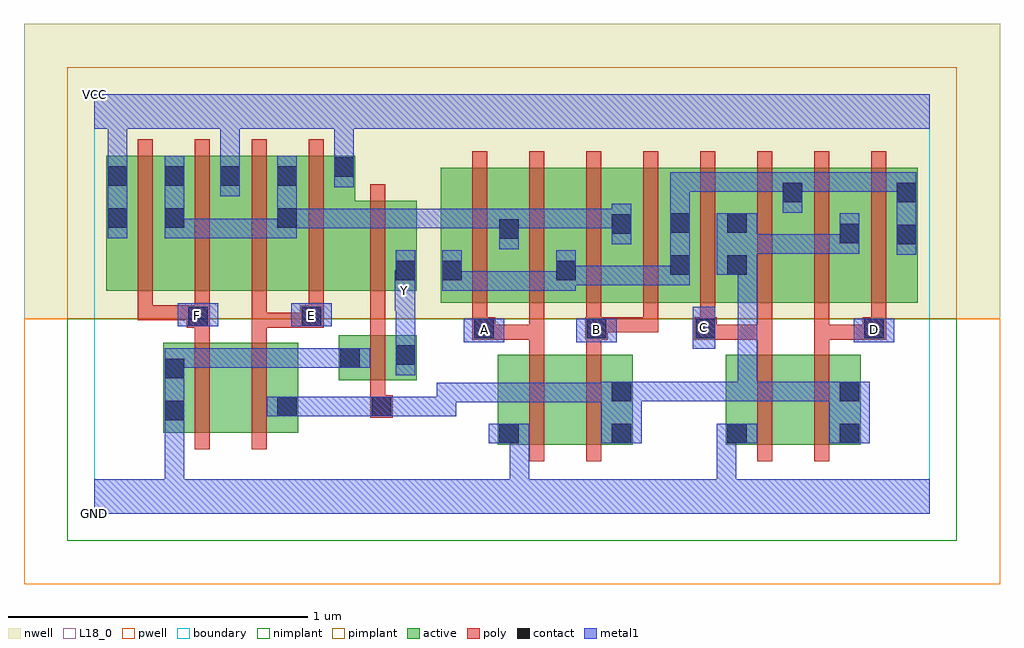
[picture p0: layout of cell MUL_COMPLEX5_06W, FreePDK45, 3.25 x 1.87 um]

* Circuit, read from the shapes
.subckt MUL_COMPLEX5_06W A B C D E F GND VCC Y
M1 n1 F GND VSUBS nfet w=0.3u l=0.05u
M2 n2 E n1 VSUBS nfet w=0.3u l=0.05u
M3 Y n2 GND VSUBS nfet w=0.15u l=0.05u
M4 n3 A GND VSUBS nfet w=0.3u l=0.05u
M5 n2 B n3 VSUBS nfet w=0.3u l=0.05u
M6 n4 C GND VSUBS nfet w=0.3u l=0.05u
M7 n2 D n4 VSUBS nfet w=0.3u l=0.05u
M8 n5 F VCC n6 pfet w=0.45u l=0.05u m=2
M9 n5 E VCC n6 pfet w=0.45u l=0.05u m=2
M10 Y n2 VCC n6 pfet w=0.3u l=0.05u
M11 n5 A n7 n6 pfet w=0.45u l=0.05u m=2
M12 n5 B n7 n6 pfet w=0.45u l=0.05u m=2
M13 n2 C n7 n6 pfet w=0.45u l=0.05u m=2
M14 n2 D n7 n6 pfet w=0.45u l=0.05u m=2
.ends

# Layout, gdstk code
import gdstk
lib = gdstk.Library(unit=1e-6, precision=1e-09)
def R(c, l, rs):  # rectangles x0, y0, x1, y1
    for r in rs: c.add(gdstk.rectangle(r[:2], r[2:], *l))
def A(c, l, x, y, w, h, nx, ny, dx, dy):  # array of equal rectangles
    R(c, l, [(x+i*dx, y+j*dy, x+i*dx+w, y+j*dy+h) for i in range(nx) for j in range(ny)])
active = (1, 0)
pwell = (2, 0)
nwell = (3, 0)
nimplant = (4, 0)
pimplant = (5, 0)
poly = (9, 0)
contact = (10, 0)
metal1 = (11, 0)
L18_0 = (18, 0)
boundary = (235, 0)

mul_complex5_06w = lib.new_cell('MUL_COMPLEX5_06W')
R(mul_complex5_06w, active, [(1.345,0.23,1.42,0.53), (1.345,0.23,1.57,0.53), (1.57,0.23,1.795,0.53), (1.72,0.23,1.795,0.53), (2.105,0.23,2.18,0.53), (2.105,0.23,2.33,0.53), (2.33,0.23,2.555,0.53), (2.48,0.23,2.555,0.53), (0.23,0.27,0.305,0.57), (0.23,0.27,0.455,0.57), (0.455,0.27,0.68,0.57), (0.605,0.295,0.68,0.57), (0.815,0.445,0.89,0.595), (0.815,0.445,1.075,0.595), (1,0.445,1.075,0.595), (1.155,0.705,1.42,1.155), (1.155,0.705,1.23,1.07), (1.345,0.705,1.61,1.155), (1.535,0.705,1.61,1.07), (1.535,0.705,1.795,1.155), (1.72,0.705,1.99,1.155), (1.915,0.705,1.99,1.155), (1.915,0.705,2.18,1.155), (2.105,0.705,2.18,1.07), (2.105,0.705,2.365,1.155), (2.29,0.705,2.365,1.155), (2.29,0.705,2.555,1.155), (2.48,0.705,2.745,1.155), (2.48,0.705,2.555,1.07), (2.67,0.705,2.745,1.155), (0.04,0.745,0.115,1.195), (0.04,0.745,0.305,1.195), (0.23,0.745,0.49,1.195), (0.415,0.745,0.68,1.195), (0.605,0.745,0.87,1.195), (0.795,0.745,1.075,1.045), (1,0.775,1.075,1.005), (0.23,0.857,0.305,1.195), (0.415,0.857,0.49,1.165), (0.605,0.857,0.68,1.195), (1.345,0.857,1.42,1.155), (1.72,0.857,1.795,1.155), (0.795,0.96,0.87,1.195)])
R(mul_complex5_06w, pwell, [(-0.235,-0.235,3.02,0.65)])
R(mul_complex5_06w, nwell, [(-0.235,0.65,3.02,1.635)])
R(mul_complex5_06w, nimplant, [(-0.09,-0.09,2.875,0.65)])
R(mul_complex5_06w, pimplant, [(-0.09,0.65,2.875,1.49)])
A(mul_complex5_06w, poly, 1.64, 0.605, 0.05, 0.095, 3, 1, 0.19, 0)
A(mul_complex5_06w, poly, 1.26, 0.65, 0.05, 0.56, 8, 1, 0.19, 0)
A(mul_complex5_06w, poly, 0.145, 0.69, 0.05, 0.56, 4, 1, 0.19, 0)
R(mul_complex5_06w, poly, [(1.45,0.175,1.5,0.585), (1.64,0.175,1.69,0.585), (2.21,0.175,2.26,0.585), (2.4,0.175,2.45,0.585), (0.335,0.215,0.385,0.625), (0.525,0.215,0.575,0.625), (0.92,0.32,0.995,0.395), (0.92,0.345,0.97,0.44), (0.92,0.39,0.97,0.65), (1.45,0.535,1.5,0.63), (1.64,0.535,1.69,0.63), (2.21,0.535,2.26,0.63), (2.4,0.535,2.45,0.63), (0.335,0.575,0.385,0.67), (0.525,0.575,0.575,0.67), (1.26,0.58,1.337,0.655), (1.287,0.58,1.337,0.63), (1.287,0.58,1.337,0.63), (1.287,0.58,1.5,0.63), (1.45,0.58,1.5,0.63), (1.45,0.58,1.5,0.7), (1.637,0.58,1.712,0.655), (2,0.58,2.075,0.655), (2.025,0.58,2.26,0.63), (2.21,0.58,2.26,0.63), (2.21,0.58,2.26,0.63), (2.21,0.58,2.26,0.63), (2.21,0.58,2.26,0.7), (2.4,0.58,2.612,0.63), (2.4,0.58,2.45,0.63), (2.4,0.58,2.45,0.63), (2.4,0.58,2.45,0.63), (2.4,0.58,2.45,0.7), (2.562,0.58,2.64,0.655), (0.92,0.6,0.97,0.695), (1.26,0.605,1.31,0.7), (1.662,0.605,1.88,0.655), (1.83,0.605,1.88,0.655), (1.83,0.605,1.88,0.655), (1.83,0.605,1.88,0.655), (2.59,0.605,2.64,0.7), (0.307,0.62,0.385,0.695), (0.525,0.62,0.737,0.67), (0.525,0.62,0.575,0.67), (0.525,0.62,0.575,0.67), (0.525,0.62,0.575,0.67), (0.525,0.62,0.575,0.74), (0.687,0.62,0.765,0.695), (0.145,0.645,0.195,0.74), (0.145,0.645,0.357,0.695), (0.145,0.645,0.195,0.695), (0.145,0.645,0.195,0.695), (0.145,0.645,0.195,0.695), (0.335,0.645,0.385,0.74), (0.715,0.645,0.765,0.74), (0.92,0.645,0.97,0.74), (0.92,0.645,0.97,0.695), (0.92,0.69,0.97,1.1)])
R(mul_complex5_06w, contact, [(1.35,0.235,1.415,0.3), (1.725,0.235,1.79,0.3), (2.11,0.235,2.175,0.3), (2.485,0.235,2.55,0.3), (0.235,0.312,0.3,0.377), (0.61,0.325,0.675,0.39), (0.925,0.325,0.99,0.39), (1.725,0.375,1.79,0.44), (2.485,0.375,2.55,0.44), (0.235,0.452,0.3,0.517), (0.82,0.487,0.885,0.552), (1.005,0.497,1.07,0.562), (1.267,0.585,1.332,0.65), (1.642,0.585,1.707,0.65), (2.005,0.585,2.07,0.65), (2.567,0.585,2.632,0.65), (0.312,0.625,0.377,0.69), (0.692,0.625,0.757,0.69), (1.005,0.78,1.07,0.845), (1.16,0.78,1.225,0.845), (1.54,0.78,1.605,0.845), (1.92,0.797,1.985,0.862), (2.11,0.797,2.175,0.862), (2.675,0.9,2.74,0.965), (2.485,0.902,2.55,0.967), (1.35,0.917,1.415,0.982), (1.725,0.935,1.79,1), (1.92,0.937,1.985,1.002), (2.11,0.937,2.175,1.002), (0.045,0.955,0.11,1.02), (0.235,0.955,0.3,1.02), (0.61,0.955,0.675,1.02), (2.295,1.04,2.36,1.105), (2.675,1.04,2.74,1.105), (0.045,1.095,0.11,1.16), (0.235,1.095,0.3,1.16), (0.42,1.095,0.485,1.16), (0.61,1.095,0.675,1.16), (0.8,1.125,0.865,1.19)])
R(mul_complex5_06w, metal1, [(0,0,2.785,0.115), (0.235,0.05,0.3,0.115), (0.235,0.05,0.3,0.115), (0.235,0.05,0.3,0.115), (0.235,0.05,0.3,0.115), (0.235,0.05,0.3,0.342), (1.385,0.05,1.45,0.3), (2.075,0.05,2.14,0.3), (1.315,0.235,1.45,0.3), (1.385,0.235,1.45,0.3), (1.385,0.235,1.45,0.3), (1.385,0.235,1.45,0.3), (1.385,0.235,1.45,0.3), (1.69,0.235,1.825,0.44), (2.075,0.235,2.14,0.3), (2.075,0.235,2.14,0.3), (2.075,0.235,2.14,0.3), (2.075,0.235,2.14,0.3), (2.075,0.235,2.21,0.3), (2.45,0.235,2.585,0.44), (0.235,0.277,0.3,0.552), (0.575,0.325,0.71,0.39), (0.645,0.325,0.71,0.39), (0.645,0.325,0.71,0.39), (0.645,0.325,0.85,0.39), (0.785,0.325,0.85,0.39), (0.785,0.325,0.955,0.39), (0.89,0.325,1.025,0.39), (0.96,0.325,1.025,0.39), (0.96,0.325,1.025,0.39), (0.96,0.325,1.207,0.39), (1.142,0.325,1.207,0.39), (1.142,0.325,1.207,0.437), (1.142,0.372,1.207,0.437), (1.142,0.372,1.207,0.437), (1.142,0.372,1.207,0.437), (1.142,0.372,1.207,0.437), (1.142,0.372,1.207,0.437), (1.142,0.372,1.467,0.437), (1.402,0.372,1.467,0.437), (1.402,0.372,1.467,0.437), (1.402,0.372,1.467,0.437), (1.402,0.372,1.617,0.437), (1.552,0.372,1.617,0.437), (1.552,0.372,1.755,0.437), (1.69,0.372,1.755,0.437), (1.69,0.372,1.755,0.437), (1.76,0.375,1.922,0.44), (1.857,0.375,1.922,0.44), (1.857,0.375,1.962,0.44), (1.897,0.375,1.962,0.44), (1.897,0.375,2.06,0.44), (1.995,0.375,2.06,0.44), (1.995,0.375,2.21,0.44), (2.145,0.375,2.21,0.44), (2.145,0.375,2.21,0.44), (2.145,0.375,2.21,0.44), (2.145,0.375,2.347,0.44), (2.145,0.375,2.21,0.862), (2.282,0.375,2.347,0.44), (2.282,0.375,2.347,0.44), (2.282,0.375,2.347,0.44), (2.282,0.375,2.515,0.44), (1.005,0.462,1.07,0.597), (0.235,0.487,0.3,0.552), (0.235,0.487,0.3,0.552), (0.235,0.487,0.3,0.552), (0.235,0.487,0.3,0.552), (0.235,0.487,0.3,0.552), (0.235,0.487,0.3,0.552), (0.235,0.487,0.437,0.552), (0.372,0.487,0.437,0.552), (0.372,0.487,0.55,0.552), (0.485,0.487,0.55,0.552), (0.485,0.487,0.712,0.552), (0.647,0.487,0.712,0.552), (0.647,0.487,0.722,0.552), (0.657,0.487,0.722,0.552), (0.657,0.487,0.85,0.552), (0.785,0.487,0.92,0.552), (1.005,0.532,1.07,0.742), (1.995,0.55,2.07,0.69), (1.232,0.572,1.367,0.65), (1.607,0.572,1.742,0.65), (2.532,0.572,2.667,0.65), (0.277,0.625,0.412,0.702), (0.657,0.625,0.792,0.702), (1.002,0.677,1.07,0.812), (1.005,0.745,1.07,0.81), (1.005,0.745,1.07,0.88), (1.16,0.745,1.225,0.81), (1.16,0.745,1.225,0.81), (1.16,0.745,1.225,0.88), (1.16,0.745,1.362,0.81), (1.297,0.745,1.362,0.81), (1.297,0.745,1.362,0.81), (1.297,0.745,1.362,0.81), (1.297,0.745,1.605,0.81), (1.54,0.745,1.605,0.88), (1.54,0.762,1.785,0.827), (1.72,0.762,1.785,0.827), (1.72,0.762,1.785,0.827), (1.72,0.762,1.785,0.827), (1.72,0.762,1.922,0.827), (1.857,0.762,1.922,0.827), (1.857,0.762,1.985,0.827), (1.92,0.762,1.985,1.037), (2.075,0.797,2.21,1.002), (2.145,0.797,2.21,0.862), (2.145,0.797,2.21,0.862), (2.675,0.865,2.74,1.14), (2.145,0.867,2.21,0.932), (2.145,0.867,2.21,0.932), (2.145,0.867,2.347,0.932), (2.282,0.867,2.347,0.932), (2.282,0.867,2.347,0.932), (2.282,0.867,2.347,0.932), (2.282,0.867,2.55,0.932), (2.485,0.867,2.55,1.002), (1.35,0.882,1.415,1.017), (1.725,0.9,1.79,1.035), (0.045,0.92,0.11,1.195), (0.235,0.92,0.3,0.985), (0.235,0.92,0.3,0.985), (0.235,0.92,0.3,1.195), (0.235,0.92,0.437,0.985), (0.372,0.92,0.437,0.985), (0.372,0.92,0.572,0.985), (0.507,0.92,0.572,0.985), (0.507,0.92,0.675,0.985), (0.61,0.92,0.675,1.195), (0.61,0.952,0.817,1.017), (0.752,0.952,0.817,1.017), (0.752,0.952,0.85,1.017), (0.785,0.952,0.85,1.017), (0.785,0.952,0.85,1.017), (0.785,0.952,0.85,1.017), (0.785,0.952,0.965,1.017), (0.9,0.952,0.965,1.017), (0.9,0.952,0.987,1.017), (0.922,0.952,0.987,1.017), (0.922,0.952,1.207,1.017), (1.142,0.952,1.207,1.017), (1.142,0.952,1.207,1.017), (1.142,0.952,1.207,1.017), (1.142,0.952,1.415,1.017), (1.35,0.952,1.415,1.017), (1.35,0.952,1.415,1.017), (1.35,0.952,1.617,1.017), (1.552,0.952,1.617,1.017), (1.552,0.952,1.785,1.017), (1.72,0.952,1.785,1.017), (1.72,0.952,1.79,1.017), (1.92,0.972,1.985,1.14), (2.295,1.005,2.36,1.14), (0.42,1.06,0.485,1.195), (1.92,1.075,1.985,1.14), (1.92,1.075,2.06,1.14), (1.995,1.075,2.06,1.14), (1.995,1.075,2.207,1.14), (2.142,1.075,2.207,1.14), (2.142,1.075,2.207,1.14), (2.142,1.075,2.207,1.14), (2.142,1.075,2.36,1.14), (2.295,1.075,2.36,1.14), (2.295,1.075,2.36,1.14), (2.295,1.075,2.602,1.14), (2.537,1.075,2.602,1.14), (2.537,1.075,2.74,1.14), (2.675,1.075,2.74,1.14), (2.675,1.075,2.74,1.14), (0.8,1.09,0.865,1.225), (0.045,1.13,0.11,1.35), (0.42,1.13,0.485,1.195), (0.42,1.13,0.485,1.195), (0.42,1.13,0.485,1.35), (0.8,1.16,0.865,1.225), (0.8,1.16,0.865,1.225), (0.8,1.16,0.865,1.35), (0,1.285,2.785,1.4), (0.045,1.285,0.11,1.35), (0.045,1.285,0.11,1.35)])
R(mul_complex5_06w, L18_0, [(0,0,2.785,0.115), (0.235,0.05,0.3,0.115), (0.235,0.05,0.3,0.115), (0.235,0.05,0.3,0.115), (0.235,0.05,0.3,0.115), (0.235,0.05,0.3,0.342), (1.385,0.05,1.45,0.3), (2.075,0.05,2.14,0.3), (1.315,0.235,1.45,0.3), (1.385,0.235,1.45,0.3), (1.385,0.235,1.45,0.3), (1.385,0.235,1.45,0.3), (1.385,0.235,1.45,0.3), (2.075,0.235,2.14,0.3), (2.075,0.235,2.14,0.3), (2.075,0.235,2.14,0.3), (2.075,0.235,2.14,0.3), (2.075,0.235,2.21,0.3), (0.235,0.277,0.3,0.552), (1.005,0.462,1.07,0.597), (0.235,0.487,0.3,0.552), (0.235,0.487,0.3,0.552), (0.235,0.487,0.3,0.552), (0.235,0.487,0.3,0.552), (0.235,0.487,0.3,0.552), (0.235,0.487,0.3,0.552), (0.235,0.487,0.437,0.552), (0.372,0.487,0.437,0.552), (0.372,0.487,0.55,0.552), (0.485,0.487,0.55,0.552), (0.485,0.487,0.712,0.552), (0.647,0.487,0.712,0.552), (0.647,0.487,0.722,0.552), (0.657,0.487,0.722,0.552), (0.657,0.487,0.85,0.552), (0.785,0.487,0.92,0.552), (1.005,0.532,1.07,0.742), (1.995,0.55,2.07,0.69), (1.232,0.572,1.367,0.65), (1.607,0.572,1.742,0.65), (2.532,0.572,2.667,0.65), (1.267,0.582,1.332,0.647), (1.642,0.582,1.707,0.647), (2.567,0.582,2.632,0.647), (1.997,0.587,2.062,0.652), (0.277,0.625,0.412,0.702), (0.657,0.625,0.792,0.702), (0.312,0.627,0.377,0.692), (0.692,0.627,0.757,0.692), (1.002,0.677,1.07,0.812), (1.002,0.712,1.067,0.777), (1.005,0.745,1.07,0.81), (1.005,0.745,1.07,0.88), (0.045,0.92,0.11,1.195), (0.42,1.06,0.485,1.195), (0.8,1.09,0.865,1.225), (0.045,1.13,0.11,1.35), (0.42,1.13,0.485,1.195), (0.42,1.13,0.485,1.195), (0.42,1.13,0.485,1.35), (0.8,1.16,0.865,1.225), (0.8,1.16,0.865,1.225), (0.8,1.16,0.865,1.35), (0,1.285,2.785,1.4), (0.045,1.285,0.11,1.35), (0.045,1.285,0.11,1.35)])
R(mul_complex5_06w, boundary, [(0,0,2.785,1.4)])
mul_complex5_06w.add(gdstk.Label('A', (1.3,0.615), layer=11, texttype=0))
mul_complex5_06w.add(gdstk.Label('B', (1.675,0.615), layer=11, texttype=0))
mul_complex5_06w.add(gdstk.Label('C', (2.03,0.62), layer=11, texttype=0))
mul_complex5_06w.add(gdstk.Label('D', (2.6,0.615), layer=11, texttype=0))
mul_complex5_06w.add(gdstk.Label('E', (0.725,0.66), layer=11, texttype=0))
mul_complex5_06w.add(gdstk.Label('F', (0.345,0.66), layer=11, texttype=0))
mul_complex5_06w.add(gdstk.Label('Y', (1.035,0.745), layer=11, texttype=0))
mul_complex5_06w.add(gdstk.Label('VCC', (0,1.4), layer=11, texttype=0))
mul_complex5_06w.add(gdstk.Label('GND', (0,0), layer=11, texttype=0))

lib.write_gds('MUL_COMPLEX5_06W.gds')
